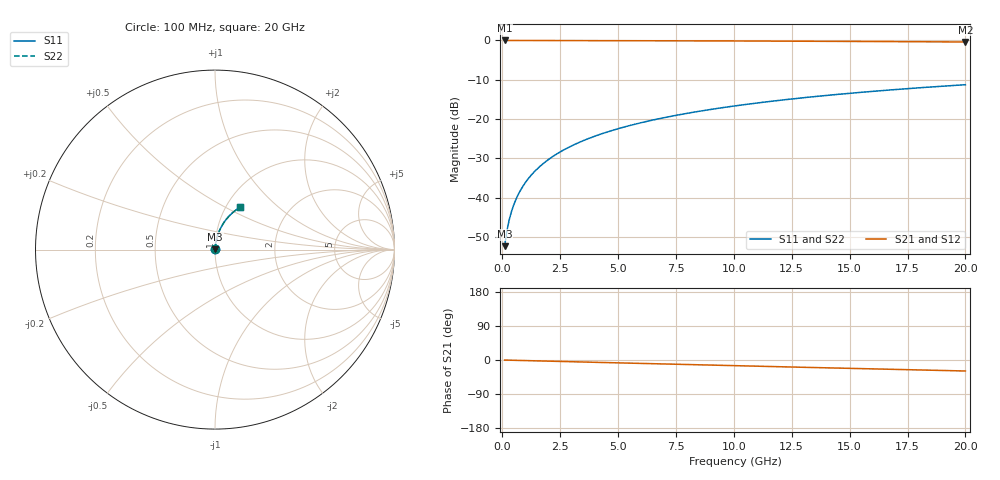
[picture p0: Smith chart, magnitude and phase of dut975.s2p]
! Touchstone file exported from HFSS 2026.1.0
!  File:  C:/ffzhzh/LocalFiles/Ansys_Project_Files/temp_train_TMRDL_975_1783159101_43440.aedt
!  Generated:  05:59:38 PM Jul  4, 2026
!  Design:  TMRDL
!  Project:  temp_train_TMRDL_975_1783159101_43440
! Variables:
!  h_bsmrdl = 2um
!  h_ox = 20um
!  h_rdl = 5um
!  h_sub = 80um
!  h_tmrdl = 3.6um
!  h_tsv = 80um
!  h_via = 3um
!  l_bsmrdl = 300um
!  l_sub = 795.44um
!  l_tmrdl = 395.44um
!  m_sub = 200um
!  pitch = 53.63um
!  r_tsv = 6um
!  s_tmrdl = 10um
!  w_bsmrdl = 18um
!  w_sub = 500um
!  w_tmrdl = 26.15um
!  x_tsv_center1 = 408.515um
!  x_tsv_center2 = 726.515um
!  x_tsv_center3 = 1148.105um
!  x_tsv_center4 = 1466.105um
!  x_tsv_center5 = 1887.695um
!  x_tsv_center6 = 2205.695um
# GHz S MA R 50.000000
! Terminal data exported
! Port[1] = TM_RDL1_1_T1
! Port[2] = TM_RDL1_1_T2
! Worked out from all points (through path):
!   200 points, 100 MHz to 20 GHz, reference 50 ohm
!   highest |S21| = -0.02 dB at 100 MHz (marker M1); lowest = -0.4 dB at 20 GHz (marker M2)
!   group delay of S21, straight-line fit = 4.03 ps
!   lowest |S11| = -52.4 dB at 100 MHz (marker M3), VSWR 1.00, Z = 50.2 + j0.168 ohm
!   |S11| at or under -10 dB: start of sweep to end of sweep
!   |S22| runs from -52.4 to -11.3 dB; largest |S21 - S12| = 5.4e-15
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0.1  0.002405 44.0  0.9983 -0.2  0.9983 -0.2  0.002405 44.0
! Gamma 0 0 0 0
! Port Impedance 50 0 50 0
0.2  0.003766 60.7  0.9982 -0.3  0.9982 -0.3  0.003766 60.7
0.3  0.005219 67.8  0.9981 -0.5  0.9981 -0.5  0.005219 67.8
0.4  0.006681 71.8  0.998 -0.6  0.998 -0.6  0.006681 71.8
0.5  0.008145 74.4  0.9979 -0.8  0.9979 -0.8  0.008145 74.4
0.6  0.009615 76.3  0.9978 -0.9  0.9978 -0.9  0.009615 76.3
0.8  0.01257 78.7  0.9977 -1.2  0.9977 -1.2  0.01257 78.7
1.1  0.01705 80.7  0.9976 -1.7  0.9976 -1.7  0.01705 80.7
1.5  0.02305 81.9  0.9974 -2.3  0.9974 -2.3  0.02305 81.9
1.8  0.02756 82.2  0.9972 -2.7  0.9972 -2.7  0.02756 82.2
2.1  0.03208 82.3  0.997 -3.2  0.997 -3.2  0.03208 82.3
2.7  0.04108 82.2  0.9965 -4.1  0.9965 -4.1  0.04108 82.2
3.5  0.05303 81.5  0.9957 -5.3  0.9957 -5.3  0.05303 81.5
4.2  0.06341 80.8  0.9948 -6.4  0.9948 -6.4  0.06341 80.8
5  0.07517 79.8  0.9937 -7.6  0.9937 -7.6  0.07517 79.8
5.9  0.08826 78.6  0.9923 -8.9  0.9923 -8.9  0.08826 78.6
6.8  0.1012 77.4  0.9907 -10.2  0.9907 -10.2  0.1012 77.4
8.3  0.1225 75.4  0.9878 -12.4  0.9878 -12.4  0.1225 75.4
10.1  0.1474 72.9  0.9838 -15.1  0.9838 -15.1  0.1474 72.9
13.4  0.1916 68.3  0.9753 -19.8  0.9753 -19.8  0.1916 68.4
16.7  0.2335 63.9  0.9656 -24.5  0.9656 -24.5  0.2335 63.9
20  0.2728 59.5  0.9548 -29.0  0.9548 -29.0  0.2728 59.5
